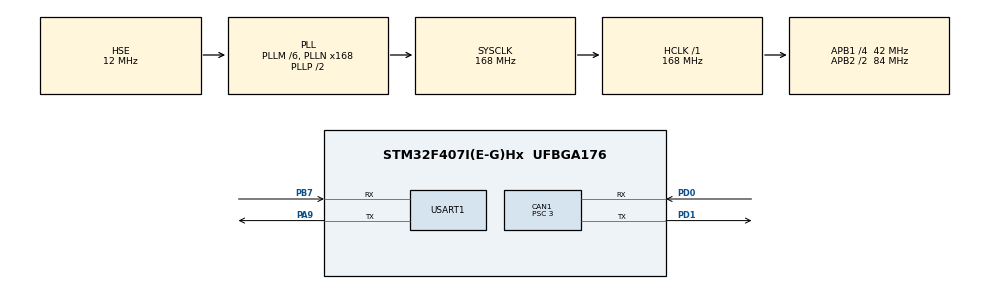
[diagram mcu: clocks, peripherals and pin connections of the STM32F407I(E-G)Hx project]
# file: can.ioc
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CAN1.BS1=CAN_BS1_10TQ
CAN1.BS2=CAN_BS2_3TQ
CAN1.CalculateBaudRate=1000000
CAN1.CalculateTimeBit=1000
CAN1.CalculateTimeQuantum=71.42857142857143
CAN1.Mode=CAN_MODE_LOOPBACK
CAN1.Prescaler=3
Mcu.Family=STM32F4
Mcu.Name=STM32F407I(E-G)Hx
Mcu.Package=UFBGA176
NVIC.CAN1_RX0_IRQn=true\:0\:0\:false\:false\:true\:true\:true\:true
NVIC.PriorityGroup=NVIC_PRIORITYGROUP_4
PA13.Mode=Serial_Wire
PA13.Signal=SYS_JTMS-SWDIO
PA14.Mode=Serial_Wire
PA14.Signal=SYS_JTCK-SWCLK
PA9.Mode=Asynchronous
PA9.Signal=USART1_TX
PB7.Mode=Asynchronous
PB7.Signal=USART1_RX
PD0.Mode=CAN_Activate
PD0.Signal=CAN1_RX
PD1.Mode=CAN_Activate
PD1.Signal=CAN1_TX
PH0-OSC_IN.Mode=HSE-External-Oscillator
PH0-OSC_IN.Signal=RCC_OSC_IN
PH1-OSC_OUT.Mode=HSE-External-Oscillator
PH1-OSC_OUT.Signal=RCC_OSC_OUT
ProjectManager.HeapSize=0x200
ProjectManager.StackSize=0x400
ProjectManager.TargetToolchain=CMake
RCC.48MHZClocksFreq_Value=84000000
RCC.AHBFreq_Value=168000000
RCC.APB1CLKDivider=RCC_HCLK_DIV4
RCC.APB1Freq_Value=42000000
RCC.APB1TimFreq_Value=84000000
RCC.APB2CLKDivider=RCC_HCLK_DIV2
RCC.APB2Freq_Value=84000000
RCC.APB2TimFreq_Value=168000000
RCC.CortexFreq_Value=168000000
RCC.HCLKFreq_Value=168000000
RCC.HSE_VALUE=12000000
RCC.HSI_VALUE=16000000
RCC.LSE_VALUE=32768
RCC.PLLM=6
RCC.PLLN=168
RCC.PLLSourceVirtual=RCC_PLLSOURCE_HSE
RCC.SYSCLKFreq_VALUE=168000000
RCC.SYSCLKSource=RCC_SYSCLKSOURCE_PLLCLK
RCC.VCOOutputFreq_Value=336000000
USART1.VirtualMode=VM_ASYNC
board=custom

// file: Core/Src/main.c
/* USER CODE BEGIN Header */
/**
 ******************************************************************************
 * @file           : main.c
 * @brief          : Main program body
 ******************************************************************************
 * @attention
 *
 * Copyright (c) 2026 STMicroelectronics.
 * All rights reserved.
 *
 * This software is licensed under terms that can be found in the LICENSE file
 * in the root directory of this software component.
 * If no LICENSE file comes with this software, it is provided AS-IS.
 *
 ******************************************************************************
 */
/* USER CODE END Header */
#include "main.h"
#include "can.h"
#include "gpio.h"
#include "usart.h"

/* USER CODE BEGIN Includes */
#include "can_ex.h"
#include <stdint.h>
#include <stdlib.h>
/* USER CODE END Includes */

/* USER CODE BEGIN PTD */
CAN_HandleTypeDefEx *hcan1_ex;
uint8_t rx_data[8];
#define USART_DEBUG
#ifdef USART_DEBUG
uint8_t debug_print_flag = 0;
uint32_t rx_std_id; // 标准ID(11位)
uint32_t rx_ext_id; // 扩展ID(29位)
uint8_t rx_ide;     // IDE位(0=标准帧, 1=扩展帧)
uint8_t rx_rtr;     // RTR位(0=数据帧, 1=远程帧)
uint8_t rx_dlc;     // 数据长度码(0-8)
#endif
/* USER CODE END PTD */

void SystemClock_Config(void);

int main(void) {

  /* MCU Configuration--------------------------------------------------------*/

  /* Reset of all peripherals, Initializes the Flash interface and the Systick.
   */
  HAL_Init();

  /* Configure the system clock */
  SystemClock_Config();

  /* Initialize all configured peripherals */
  MX_GPIO_Init();
  MX_CAN1_Init();
  MX_USART1_UART_Init();
  /* USER CODE BEGIN 2 */
  hcan1_ex = CAN_Create(&hcan1, CAN_PLATFORM_STM32F4);
  if (hcan1_ex == NULL) {
    Error_Handler();
  }
  // 使能接收FIFO0消息挂起中断
  CAN_EnableInterrupt(hcan1_ex, CAN_IT_RX_FIFO0_MSG_PENDING);
  /* USER CODE END 2 */

  /* Infinite loop */
  /* USER CODE BEGIN WHILE */
  while (1) {
    CAN_TxHeaderTypeDef tx_header;
    uint8_t _random = 0;
    _random = random();
    uint8_t tx_data[8] = {0x01 + _random, 0x02 + _random, 0x03 + _random,
                          0x04 + _random, 0x05 + _random, 0x06 + _random,
                          0x07 + _random, 0x08 + _random};
    uint32_t tx_mailbox; // 存储哪个邮箱发送的

    tx_header.StdId = 0x123;
    tx_header.ExtId = 0x00;
    tx_header.RTR = CAN_RTR_DATA;
    tx_header.IDE = CAN_ID_STD;
    tx_header.DLC = 8;
    tx_header.TransmitGlobalTime = DISABLE;

    CAN_SendData(hcan1_ex, &tx_header, tx_data, &tx_mailbox);
    HAL_Delay(1000);
#ifdef USART_DEBUG
    if (debug_print_flag == 1) {
      usart_printf("[%5lu] ", HAL_GetTick());

      // 打印帧类型和ID类型
      if (rx_rtr == CAN_RTR_REMOTE) {
        usart_printf("REMOTE ");
      } else {
        usart_printf("DATA   ");
      }

      if (rx_ide == CAN_ID_STD) {
        usart_printf("STD ID: 0x%03X | DLC: %d | Data: ", rx_std_id, rx_dlc);
      } else {
        usart_printf("EXT ID: 0x%08X | DLC: %d | Data: ", rx_ext_id, rx_dlc);
      }

      // 打印数据段(远程帧无数据)
      if (rx_rtr == CAN_RTR_DATA) {
        for (uint8_t i = 0; i < rx_dlc; i++) {
          usart_printf("0x%02X ", rx_data[i]);
        }
      } else {
        usart_printf("(No Data)");
      }

      usart_printf("\r\n");
      debug_print_flag = 0;
    }
#endif
    /* USER CODE END WHILE */

  }
}

void SystemClock_Config(void) {
  RCC_OscInitTypeDef RCC_OscInitStruct = {0};
  RCC_ClkInitTypeDef RCC_ClkInitStruct = {0};

  /** Configure the main internal regulator output voltage
   */
  __HAL_RCC_PWR_CLK_ENABLE();
  __HAL_PWR_VOLTAGESCALING_CONFIG(PWR_REGULATOR_VOLTAGE_SCALE1);

  /** Initializes the RCC Oscillators according to the specified parameters
   * in the RCC_OscInitTypeDef structure.
   */
  RCC_OscInitStruct.OscillatorType = RCC_OSCILLATORTYPE_HSE;
  RCC_OscInitStruct.HSEState = RCC_HSE_ON;
  RCC_OscInitStruct.PLL.PLLState = RCC_PLL_ON;
  RCC_OscInitStruct.PLL.PLLSource = RCC_PLLSOURCE_HSE;
  RCC_OscInitStruct.PLL.PLLM = 6;
  RCC_OscInitStruct.PLL.PLLN = 168;
  RCC_OscInitStruct.PLL.PLLP = RCC_PLLP_DIV2;
  RCC_OscInitStruct.PLL.PLLQ = 4;
  if (HAL_RCC_OscConfig(&RCC_OscInitStruct) != HAL_OK) {
    Error_Handler();
  }

  /** Initializes the CPU, AHB and APB buses clocks
   */
  RCC_ClkInitStruct.ClockType = RCC_CLOCKTYPE_HCLK | RCC_CLOCKTYPE_SYSCLK |
                                RCC_CLOCKTYPE_PCLK1 | RCC_CLOCKTYPE_PCLK2;
  RCC_ClkInitStruct.SYSCLKSource = RCC_SYSCLKSOURCE_PLLCLK;
  RCC_ClkInitStruct.AHBCLKDivider = RCC_SYSCLK_DIV1;
  RCC_ClkInitStruct.APB1CLKDivider = RCC_HCLK_DIV4;
  RCC_ClkInitStruct.APB2CLKDivider = RCC_HCLK_DIV2;

  if (HAL_RCC_ClockConfig(&RCC_ClkInitStruct, FLASH_LATENCY_5) != HAL_OK) {
    Error_Handler();
  }
}

/* USER CODE BEGIN 4 */
// 接收完成回调函数
void HAL_CAN_RxFifo0MsgPendingCallback(CAN_HandleTypeDef *hcan) {
  CAN_RxHeaderTypeDef rx_header;
  // 接收数据
  if (CAN_ReceiveData(hcan1_ex, CAN_RX_FIFO0, &rx_header, rx_data) == CAN_OK) {
#ifdef USART_DEBUG
    debug_print_flag = 1;
    rx_std_id = rx_header.StdId;
    rx_ext_id = rx_header.ExtId;
    rx_ide = rx_header.IDE;
    rx_rtr = rx_header.RTR;
    rx_dlc = rx_header.DLC;
#endif
  }
}
/* USER CODE END 4 */

void Error_Handler(void) {
  __disable_irq();
  while (1) {
  }
}
#ifdef USE_FULL_ASSERT
/**
 * @brief  Reports the name of the source file and the source line number
 *         where the assert_param error has occurred.
 * @param  file: pointer to the source file name
 * @param  line: assert_param error line source number
 * @retval None
 */
void assert_failed(uint8_t *file, uint32_t line) {
  /* USER CODE BEGIN 6 */
  /* User can add his own implementation to report the file name and line
     number, ex: printf("Wrong parameters value: file %s on line %d\r\n", file,
     line) */
  /* USER CODE END 6 */
}
#endif /* USE_FULL_ASSERT */
